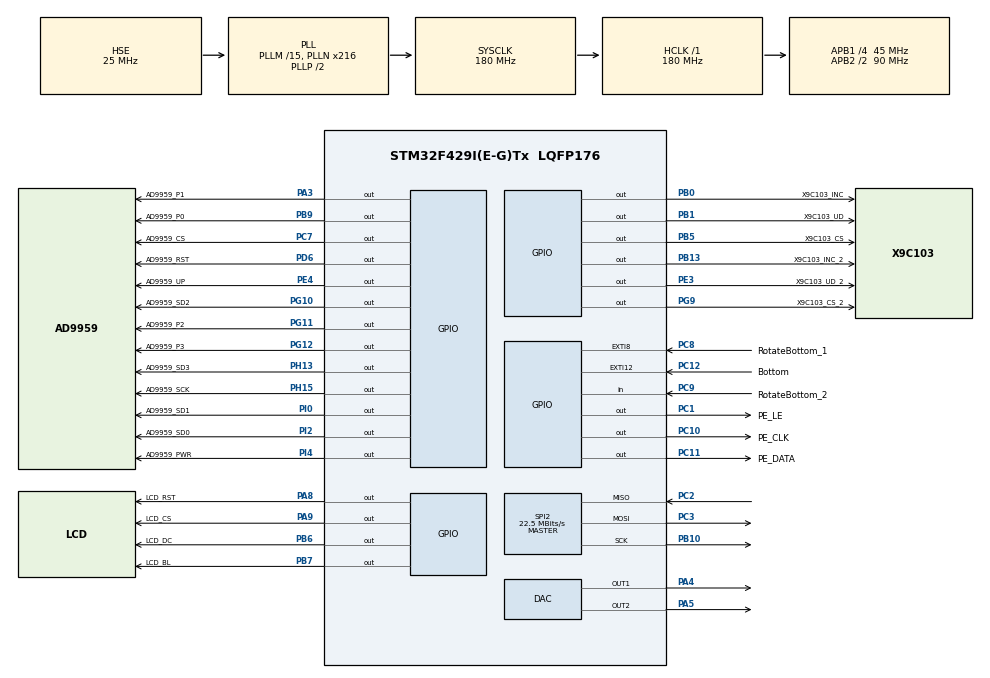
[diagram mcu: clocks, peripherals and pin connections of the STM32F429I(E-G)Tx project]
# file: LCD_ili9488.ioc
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Mcu.Family=STM32F4
Mcu.Name=STM32F429I(E-G)Tx
Mcu.Package=LQFP176
NVIC.EXTI15_10_IRQn=true\:1\:0\:true\:false\:true\:true\:true\:true
NVIC.EXTI9_5_IRQn=true\:1\:0\:true\:false\:true\:true\:true\:true
NVIC.PriorityGroup=NVIC_PRIORITYGROUP_4
PA13.Mode=Serial_Wire
PA13.Signal=SYS_JTMS-SWDIO
PA14.Mode=Serial_Wire
PA14.Signal=SYS_JTCK-SWCLK
PA3.GPIO_Label=AD9959_P1
PA3.GPIO_Speed=GPIO_SPEED_FREQ_HIGH
PA3.Signal=GPIO_Output
PA4.Signal=COMP_DAC1_group
PA5.Signal=COMP_DAC2_group
PA8.GPIO_Label=LCD_RST
PA8.Signal=GPIO_Output
PA9.GPIO_Label=LCD_CS
PA9.Signal=GPIO_Output
PB0.GPIO_Label=X9C103_INC
PB0.GPIO_Speed=GPIO_SPEED_FREQ_HIGH
PB0.PinState=GPIO_PIN_SET
PB0.Signal=GPIO_Output
PB1.GPIO_Label=X9C103_UD
PB1.GPIO_Speed=GPIO_SPEED_FREQ_HIGH
PB1.PinState=GPIO_PIN_SET
PB1.Signal=GPIO_Output
PB10.Mode=Full_Duplex_Master
PB10.Signal=SPI2_SCK
PB13.GPIO_Label=X9C103_INC_2
PB13.GPIO_Speed=GPIO_SPEED_FREQ_HIGH
PB13.PinState=GPIO_PIN_SET
PB13.Signal=GPIO_Output
PB5.GPIO_Label=X9C103_CS
PB5.GPIO_Speed=GPIO_SPEED_FREQ_HIGH
PB5.PinState=GPIO_PIN_SET
PB5.Signal=GPIO_Output
PB6.GPIO_Label=LCD_DC
PB6.Signal=GPIO_Output
PB7.GPIO_Label=LCD_BL
PB7.PinState=GPIO_PIN_SET
PB7.Signal=GPIO_Output
PB9.GPIO_Label=AD9959_P0
PB9.GPIO_Speed=GPIO_SPEED_FREQ_HIGH
PB9.Signal=GPIO_Output
PC1.GPIO_Label=PE_LE
PC1.GPIO_Speed=GPIO_SPEED_FREQ_HIGH
PC1.PinState=GPIO_PIN_SET
PC1.Signal=GPIO_Output
PC10.GPIO_Label=PE_CLK
PC10.GPIO_Speed=GPIO_SPEED_FREQ_HIGH
PC10.PinState=GPIO_PIN_SET
PC10.Signal=GPIO_Output
PC11.GPIO_Label=PE_DATA
PC11.GPIO_Speed=GPIO_SPEED_FREQ_HIGH
PC11.PinState=GPIO_PIN_SET
PC11.Signal=GPIO_Output
PC12.GPIO_Label=Bottom
PC12.GPIO_ModeDefaultEXTI=GPIO_MODE_IT_FALLING
PC12.GPIO_PuPd=GPIO_PULLUP
PC12.Signal=GPXTI12
PC2.Mode=Full_Duplex_Master
PC2.Signal=SPI2_MISO
PC3.Mode=Full_Duplex_Master
PC3.Signal=SPI2_MOSI
PC7.GPIO_Label=AD9959_CS
PC7.GPIO_Speed=GPIO_SPEED_FREQ_HIGH
PC7.Signal=GPIO_Output
PC8.GPIO_Label=RotateBottom_1
PC8.GPIO_ModeDefaultEXTI=GPIO_MODE_IT_FALLING
PC8.GPIO_PuPd=GPIO_PULLUP
PC8.Signal=GPXTI8
PC9.GPIO_Label=RotateBottom_2
PC9.Signal=GPIO_Input
PD6.GPIO_Label=AD9959_RST
PD6.GPIO_Speed=GPIO_SPEED_FREQ_HIGH
PD6.Signal=GPIO_Output
PE3.GPIO_Label=X9C103_UD_2
PE3.GPIO_Speed=GPIO_SPEED_FREQ_HIGH
PE3.PinState=GPIO_PIN_SET
PE3.Signal=GPIO_Output
PE4.GPIO_Label=AD9959_UP
PE4.GPIO_Speed=GPIO_SPEED_FREQ_HIGH
PE4.Signal=GPIO_Output
PG10.GPIO_Label=AD9959_SD2
PG10.GPIO_Speed=GPIO_SPEED_FREQ_HIGH
PG10.Signal=GPIO_Output
PG11.GPIO_Label=AD9959_P2
PG11.GPIO_Speed=GPIO_SPEED_FREQ_HIGH
PG11.Signal=GPIO_Output
PG12.GPIO_Label=AD9959_P3
PG12.GPIO_Speed=GPIO_SPEED_FREQ_HIGH
PG12.Signal=GPIO_Output
PG9.GPIO_Label=X9C103_CS_2
PG9.GPIO_Speed=GPIO_SPEED_FREQ_HIGH
PG9.PinState=GPIO_PIN_SET
PG9.Signal=GPIO_Output
PH0/OSC_IN.Mode=HSE-External-Oscillator
PH0/OSC_IN.Signal=RCC_OSC_IN
PH1/OSC_OUT.Mode=HSE-External-Oscillator
PH1/OSC_OUT.Signal=RCC_OSC_OUT
PH13.GPIO_Label=AD9959_SD3
PH13.GPIO_Speed=GPIO_SPEED_FREQ_HIGH
PH13.Signal=GPIO_Output
PH15.GPIO_Label=AD9959_SCK
PH15.GPIO_Speed=GPIO_SPEED_FREQ_HIGH
PH15.Signal=GPIO_Output
PI0.GPIO_Label=AD9959_SD1
PI0.GPIO_Speed=GPIO_SPEED_FREQ_HIGH
PI0.Signal=GPIO_Output
PI2.GPIO_Label=AD9959_SD0
PI2.GPIO_Speed=GPIO_SPEED_FREQ_HIGH
PI2.Signal=GPIO_Output
PI4.GPIO_Label=AD9959_PWR
PI4.GPIO_Speed=GPIO_SPEED_FREQ_HIGH
PI4.Signal=GPIO_Output
ProjectManager.HeapSize=0x400
ProjectManager.StackSize=0x800
ProjectManager.TargetToolchain=EWARM V8.32
RCC.48MHZClocksFreq_Value=90000000
RCC.AHBFreq_Value=180000000
RCC.APB1CLKDivider=RCC_HCLK_DIV4
RCC.APB1Freq_Value=45000000
RCC.APB1TimFreq_Value=90000000
RCC.APB2CLKDivider=RCC_HCLK_DIV2
RCC.APB2Freq_Value=90000000
RCC.APB2TimFreq_Value=180000000
RCC.CortexFreq_Value=180000000
RCC.HCLKFreq_Value=180000000
RCC.HSE_VALUE=25000000
RCC.HSI_VALUE=16000000
RCC.LSE_VALUE=32768
RCC.PLLM=15
RCC.PLLN=216
RCC.PLLSourceVirtual=RCC_PLLSOURCE_HSE
RCC.SYSCLKFreq_VALUE=180000000
RCC.SYSCLKSource=RCC_SYSCLKSOURCE_PLLCLK
RCC.VCOOutputFreq_Value=360000000
SH.COMP_DAC1_group.0=DAC_OUT1,DAC_OUT1
SH.COMP_DAC2_group.0=DAC_OUT2,DAC_OUT2
SPI2.CRCCalculation=SPI_CRCCALCULATION_DISABLE
SPI2.CalculateBaudRate=22.5 MBits/s
SPI2.Direction=SPI_DIRECTION_2LINES
SPI2.Mode=SPI_MODE_MASTER
SPI2.VirtualType=VM_MASTER
board=custom

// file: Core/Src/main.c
/* USER CODE BEGIN Header */
/**
 ******************************************************************************
 * @file           : main.c
 * @brief          : Main program body
 ******************************************************************************
 * @attention
 *
 * Copyright (c) 2024 STMicroelectronics.
 * All rights reserved.
 *
 * This software is licensed under terms that can be found in the LICENSE file
 * in the root directory of this software component.
 * If no LICENSE file comes with this software, it is provided AS-IS.
 *
 ******************************************************************************
 */
/* USER CODE END Header */
#include "main.h"
#include "dac.h"
#include "spi.h"
#include "gpio.h"

/* USER CODE BEGIN Includes */

#include "ILI9488.h"
#include "AD9959.h"
#include "AD9959_Outset.h"
#include "X9C103.h"
#include "PE4302.H"

/* USER CODE END Includes */

/* USER CODE BEGIN PV */
int ModulationDegree_index = 0; // The index of array "DCvoltage_Modulation" and array "ModulationDegreeData"
int Amplitude_index = 0;        // The index of array "DCvoltage_CW"
int Frequency_index = 0;        // The index of array "Frequency", array "DCvoltage_CW" and array "DelayTime"
int DelayTime_index = 0;        // The index of array "DelayTime"
int AMwave_index = 0;           // The index of array "DCvoltage_AM"

int CWorAM = CW_MODE;

enum BottomType bottom = NoWork;                // The work type of bottom
enum BottomMode bottom_mode = BottomCWorAMMode; // The mode of bottom
// enum BottomMode bottom_mode = BottomAmplitudeMode;
uint32_t DCvoltage_AM[10];        // The array to store the data of AM mode
uint32_t DCvoltage_CW[11][10];    // The array to store the data of CW mode in different frequency
uint32_t DCvoltage_Modulation[7]; // The array to store the data which is used to calculate modulation degree
uint32_t MultiPath_Modulation[7]; // The array to store the data which is used to calculate the modulation degree of Multipath wave
uint32_t DelayPhase[7];

// uint32_t DCvoltage[2][10];

double Frequency[11]; // The array of different frequency
int DelayTime[11][7]; // The array of the delay time in different frequency

int ModulationDegreeData[7] = {30, 40, 50, 60, 70, 80, 90};
int DelayTimeData[7] = {0, 50, 80, 110, 140, 170, 200};
int AmplitudeValidValueData[10] = {100, 200, 300, 400, 500, 600, 700, 800, 900, 1000};

// Test used
int phase = 0;
int amp = 150;

/* USER CODE END PV */

void SystemClock_Config(void);

/* USER CODE BEGIN 0 */

// Initialize data
void DCvoltageInit(void)
{
    // DCvoltage[AMPLITUDE_INDEX] is the same with DCvoltage_CW[0]
    //   DCvoltage[AMPLITUDE_INDEX][0] = 170;//130;
    //   DCvoltage[AMPLITUDE_INDEX][1] = 360;//262;
    //   DCvoltage[AMPLITUDE_INDEX][2] = 545;//400;
    //   DCvoltage[AMPLITUDE_INDEX][3] = 760;//542;
    //   DCvoltage[AMPLITUDE_INDEX][4] = 960;//699;
    //   DCvoltage[AMPLITUDE_INDEX][5] = 1160;//865
    //   DCvoltage[AMPLITUDE_INDEX][6] = 1360;//999
    //   DCvoltage[AMPLITUDE_INDEX][7] = 1550;//1183
    //   DCvoltage[AMPLITUDE_INDEX][8] = 1750;//1345
    //   DCvoltage[AMPLITUDE_INDEX][9] = 1950;//1459

    DCvoltage_AM[0] = 148;
    DCvoltage_AM[1] = 310;
    DCvoltage_AM[2] = 491;
    DCvoltage_AM[3] = 640;
    DCvoltage_AM[4] = 820;
    DCvoltage_AM[5] = 1000;
    DCvoltage_AM[6] = 1200;
    DCvoltage_AM[7] = 1365;
    DCvoltage_AM[8] = 1575;
    DCvoltage_AM[9] = 1745;

    // 30M
    DCvoltage_CW[0][0] = 170;
    DCvoltage_CW[0][1] = 350;
    DCvoltage_CW[0][2] = 535;
    DCvoltage_CW[0][3] = 734;
    DCvoltage_CW[0][4] = 930;
    DCvoltage_CW[0][5] = 1135;
    DCvoltage_CW[0][6] = 1330;
    DCvoltage_CW[0][7] = 1530;
    DCvoltage_CW[0][8] = 1730;
    DCvoltage_CW[0][9] = 1925;

    // 31M
    DCvoltage_CW[1][0] = 152;
    DCvoltage_CW[1][1] = 315;
    DCvoltage_CW[1][2] = 489;
    DCvoltage_CW[1][3] = 680;
    DCvoltage_CW[1][4] = 877;
    DCvoltage_CW[1][5] = 1051;
    DCvoltage_CW[1][6] = 1242;
    DCvoltage_CW[1][7] = 1420;
    DCvoltage_CW[1][8] = 1620;
    DCvoltage_CW[1][9] = 1810;

    // 32M
    DCvoltage_CW[2][0] = 137;
    DCvoltage_CW[2][1] = 287;
    DCvoltage_CW[2][2] = 451;
    DCvoltage_CW[2][3] = 625;
    DCvoltage_CW[2][4] = 801;
    DCvoltage_CW[2][5] = 970;
    DCvoltage_CW[2][6] = 1145;
    DCvoltage_CW[2][7] = 1300;
    DCvoltage_CW[2][8] = 1489;
    DCvoltage_CW[2][9] = 1660;

    // 33M
    DCvoltage_CW[3][0] = 126;
    DCvoltage_CW[3][1] = 271;
    DCvoltage_CW[3][2] = 419;
    DCvoltage_CW[3][3] = 590;
    DCvoltage_CW[3][4] = 745;
    DCvoltage_CW[3][5] = 910;
    DCvoltage_CW[3][6] = 1070;
    DCvoltage_CW[3][7] = 1235;
    DCvoltage_CW[3][8] = 1385;
    DCvoltage_CW[3][9] = 1550;

    // 34M
    DCvoltage_CW[4][0] = 126;
    DCvoltage_CW[4][1] = 265;//271;
    DCvoltage_CW[4][2] = 395;//421;
    DCvoltage_CW[4][3] = 560;
    DCvoltage_CW[4][4] = 715;
    DCvoltage_CW[4][5] = 870;
    DCvoltage_CW[4][6] = 1020;
    DCvoltage_CW[4][7] = 1160;
    DCvoltage_CW[4][8] = 1338;
    DCvoltage_CW[4][9] = 1500;

    // 35M
    DCvoltage_CW[5][0] = 126;
    DCvoltage_CW[5][1] = 260;
    DCvoltage_CW[5][2] = 390;//421;
    DCvoltage_CW[5][3] = 530;
    DCvoltage_CW[5][4] = 705;
    DCvoltage_CW[5][5] = 860;
    DCvoltage_CW[5][6] = 1010;
    DCvoltage_CW[5][7] = 1160;
    DCvoltage_CW[5][8] = 1315;
    DCvoltage_CW[5][9] = 1455;

    // 36M
    DCvoltage_CW[6][0] = 120;
    DCvoltage_CW[6][1] = 260;//283;
    DCvoltage_CW[6][2] = 400;//446;
    DCvoltage_CW[6][3] = 550;
    DCvoltage_CW[6][4] = 717;
    DCvoltage_CW[6][5] = 870;
    DCvoltage_CW[6][6] = 1015;
    DCvoltage_CW[6][7] = 1170;
    DCvoltage_CW[6][8] = 1320;
    DCvoltage_CW[6][9] = 1470;

    // 37M
    DCvoltage_CW[7][0] = 125;
    DCvoltage_CW[7][1] = 280;//311;
    DCvoltage_CW[7][2] = 423;//488;
    DCvoltage_CW[7][3] = 580;
    DCvoltage_CW[7][4] = 750;
    DCvoltage_CW[7][5] = 920;
    DCvoltage_CW[7][6] = 1080;
    DCvoltage_CW[7][7] = 1230;
    DCvoltage_CW[7][8] = 1390;
    DCvoltage_CW[7][9] = 1555;

    // 38M
    DCvoltage_CW[8][0] = 142;//167;
    DCvoltage_CW[8][1] = 300;//348;
    DCvoltage_CW[8][2] = 460;//552;
    DCvoltage_CW[8][3] = 635;
    DCvoltage_CW[8][4] = 820;
    DCvoltage_CW[8][5] = 985;
    DCvoltage_CW[8][6] = 1150;
    DCvoltage_CW[8][7] = 1320;
    DCvoltage_CW[8][8] = 1480;
    DCvoltage_CW[8][9] = 1630;

    // 39M
    DCvoltage_CW[9][0] = 142;//188;
    DCvoltage_CW[9][1] = 325;//386;
    DCvoltage_CW[9][2] = 495;//614;
    DCvoltage_CW[9][3] = 680;
    DCvoltage_CW[9][4] = 870;
    DCvoltage_CW[9][5] = 1070;
    DCvoltage_CW[9][6] = 1240;
    DCvoltage_CW[9][7] = 1425;
    DCvoltage_CW[9][8] = 1600;
    DCvoltage_CW[9][9] = 1750;

    // 40M
    DCvoltage_CW[10][0] = 155;//214;
    DCvoltage_CW[10][1] = 355;//436;
    DCvoltage_CW[10][2] = 540;//675;
    DCvoltage_CW[10][3] = 750;
    DCvoltage_CW[10][4] = 960;
    DCvoltage_CW[10][5] = 1160;
    DCvoltage_CW[10][6] = 1340;
    DCvoltage_CW[10][7] = 1525;
    DCvoltage_CW[10][8] = 1730;
    DCvoltage_CW[10][9] = 1930;

    DelayPhase[0] = 0;
    DelayPhase[1] = 40;
    DelayPhase[2] = 60;
    DelayPhase[3] = 80;
    DelayPhase[4] = 100;
    DelayPhase[5] = 120;
    DelayPhase[6] = 140;

    //   DCvoltage[MODULATION_DEGREE_INDEX][0] = 700;
    //   DCvoltage[MODULATION_DEGREE_INDEX][1] = 570;
    //   DCvoltage[MODULATION_DEGREE_INDEX][2] = 440;
    //   DCvoltage[MODULATION_DEGREE_INDEX][3] = 353;
    //   DCvoltage[MODULATION_DEGREE_INDEX][4] = 310;
    //   DCvoltage[MODULATION_DEGREE_INDEX][5] = 285;
    //   DCvoltage[MODULATION_DEGREE_INDEX][6] = 240;
    //   DCvoltage[MODULATION_DEGREE_INDEX][7] = 240;
    //   DCvoltage[MODULATION_DEGREE_INDEX][8] = 240;
    //   DCvoltage[MODULATION_DEGREE_INDEX][9] = 240;

    DCvoltage_Modulation[0] = 670;
    DCvoltage_Modulation[1] = 488 + 20 + 20;
    DCvoltage_Modulation[2] = 413 + 20 + 20;
    DCvoltage_Modulation[3] = 353 + 20 + 20;
    DCvoltage_Modulation[4] = 312 + 20 + 20;
    DCvoltage_Modulation[5] = 275 + 20 + 20;
    DCvoltage_Modulation[6] = 245 + 20 + 20;

    MultiPath_Modulation[0] = 44;
    MultiPath_Modulation[1] = 41;
    MultiPath_Modulation[2] = 40;
    MultiPath_Modulation[3] = 38;
    MultiPath_Modulation[4] = 36;
    MultiPath_Modulation[5] = 34;
    MultiPath_Modulation[6] = 32;

    Frequency[0] = 30000000;
    Frequency[1] = 31000000;
    Frequency[2] = 32000000;
    Frequency[3] = 33000000;
    Frequency[4] = 34000000;
    Frequency[5] = 35000000;
    Frequency[6] = 36000000;
    Frequency[7] = 37000000;
    Frequency[8] = 38000000;
    Frequency[9] = 39000000;
    Frequency[10] = 40000000;

    // 30M
    DelayTime[0][0] = 0;
    DelayTime[0][1] = 530;
    DelayTime[0][2] = 855;
    DelayTime[0][3] = 1180;
    DelayTime[0][4] = 1505;
    DelayTime[0][5] = 1830;
    DelayTime[0][6] = 2155;

    // 31M
    DelayTime[1][0] = 0;
    DelayTime[1][1] = 550;
    DelayTime[1][2] = 890;
    DelayTime[1][3] = 1220;
    DelayTime[1][4] = 1555;
    DelayTime[1][5] = 1890;
    DelayTime[1][6] = 2225;

    // 32M
    DelayTime[2][0] = 0;
    DelayTime[2][1] = 565;
    DelayTime[2][2] = 905;
    DelayTime[2][3] = 1250;
    DelayTime[2][4] = 1605;
    DelayTime[2][5] = 1955;
    DelayTime[2][6] = 2305;

    // 33M
    DelayTime[3][0] = 0;
    DelayTime[3][1] = 595;
    DelayTime[3][2] = 945;
    DelayTime[3][3] = 1295;
    DelayTime[3][4] = 1645;
    DelayTime[3][5] = 1995;
    DelayTime[3][6] = 2345;

    // 34M
    DelayTime[4][0] = 0;
    DelayTime[4][1] = 605;
    DelayTime[4][2] = 970;
    DelayTime[4][3] = 1335;
    DelayTime[4][4] = 1715;
    DelayTime[4][5] = 2085;
    DelayTime[4][6] = 2455;

    // 35M
    DelayTime[5][0] = 0;
    DelayTime[5][1] = 630;
    DelayTime[5][2] = 1000;
    DelayTime[5][3] = 1375;
    DelayTime[5][4] = 1747;
    DelayTime[5][5] = 2119;
    DelayTime[5][6] = 2491;

    // 36M
    DelayTime[6][0] = 0;
    DelayTime[6][1] = 640;
    DelayTime[6][2] = 1030;
    DelayTime[6][3] = 1415;
    DelayTime[6][4] = 1802;
    DelayTime[6][5] = 2189;
    DelayTime[6][6] = 2576;

    // 37M
    DelayTime[7][0] = 0;
    DelayTime[7][1] = 660;
    DelayTime[7][2] = 1065;
    DelayTime[7][3] = 1460;
    DelayTime[7][4] = 1860;
    DelayTime[7][5] = 2260;
    DelayTime[7][6] = 2660;

    // 38M
    DelayTime[8][0] = 0;
    DelayTime[8][1] = 680;
    DelayTime[8][2] = 1090;
    DelayTime[8][3] = 1505;
    DelayTime[8][4] = 1917;
    DelayTime[8][5] = 2329;
    DelayTime[8][6] = 2741;

    // 39M
    DelayTime[9][0] = 0;
    DelayTime[9][1] = 700;
    DelayTime[9][2] = 1120;
    DelayTime[9][3] = 1540;
    DelayTime[9][4] = 1960;
    DelayTime[9][5] = 2380;
    DelayTime[9][6] = 2800;

    // 40M
    DelayTime[10][0] = 0;
    DelayTime[10][1] = 720;
    DelayTime[10][2] = 1140;
    DelayTime[10][3] = 1560;
    DelayTime[10][4] = 1980;
    DelayTime[10][5] = 2400;
    DelayTime[10][6] = 2820;
}

/* USER CODE END 0 */

int main(void)
{

  /* MCU Configuration--------------------------------------------------------*/

  /* Reset of all peripherals, Initializes the Flash interface and the Systick. */
  HAL_Init();

  /* Configure the system clock */
  SystemClock_Config();

  /* USER CODE BEGIN SysInit */

    delay_init(180);

  /* USER CODE END SysInit */

  /* Initialize all configured peripherals */
  MX_GPIO_Init();
  MX_SPI2_Init();
  MX_DAC_Init();
  /* USER CODE BEGIN 2 */
    DCvoltageInit();

    // Initialize DAC
    HAL_DAC_Start(&hdac, DAC_CHANNEL_1);
    //   HAL_DAC_SetValue(&hdac, DAC_CHANNEL_1, DAC_ALIGN_12B_R, DCvoltage[MODULATION_DEGREE_INDEX][0]);
    HAL_DAC_SetValue(&hdac, DAC_CHANNEL_1, DAC_ALIGN_12B_R, DCvoltage_Modulation[ModulationDegree_index]);
    // HAL_DAC_SetValue(&hdac, DAC_CHANNEL_1, DAC_ALIGN_12B_R, 245);
    HAL_DAC_Start(&hdac, DAC_CHANNEL_2);
    HAL_DAC_SetValue(&hdac, DAC_CHANNEL_2, DAC_ALIGN_12B_R, DCvoltage_CW[Frequency_index][Amplitude_index]);
    //   HAL_DAC_SetValue(&hdac, DAC_CHANNEL_2, DAC_ALIGN_12B_R, DCvoltage[AMPLITUDE_INDEX][0]);

    //   HAL_DAC_SetValue(&hdac, DAC_CHANNEL_2, DAC_ALIGN_12B_R, amp);

    // Initialize AD9959
    AD9959_Init();
    AD9959_enablechannel0();
    AD9959_SetFreAmpPha(30000000, 400, 0);
    AD9959_enablechannel1();
    AD9959_SetFreAmpPha(2000000, 400, 0);
    AD9959_enablechannel2();
    AD9959_SetFreAmpPha(2000000, 400, DelayTime[0][0]);
    AD9959_enablechannel3();
    AD9959_SetFreAmpPha(30000000, 400, DelayTime[0][0]);

    // Initialize LCD
    lcd_init_spi();
    fill_rectangle(0, 0, WIDTH, HEIGHT, COLOR_DARKBLUE);
    ShowInformation(CHINESE_WIDTH, CHINESE_HEIGHT, COLOR_WHITE, COLOR_DARKBLUE);

    // Initialize X9C103
    X9C103_Init();
    X9C103_Inc_N_Step(MultiPath_Modulation[ModulationDegree_index]);
//    X9C103_Init_2();
//    X9C103_Inc_N_Step_2(10);

  /* USER CODE END 2 */

  /* Infinite loop */
  /* USER CODE BEGIN WHILE */
    while (1)
    {
        //     if (bottom != NoWork) {
        //         if (bottom == ClockwiseRotate) {
        //             // if (bottom_mode == BottomFrequencyMode) {
        //             //     Frequency_index++;
        //             //     if (Frequency_index > 10) {
        //             //         Frequency_index = 10;
        //             //     }
        //             // }
        //             // else if (bottom_mode == BottomAmplitudeMode) {
        //             //     amp++;
        //             //     if (amp > 4095) {
        //             //         amp = 4095;
        //             //     }
        //             //     HAL_DAC_SetValue(&hdac, DAC_CHANNEL_2, DAC_ALIGN_12B_R, amp);
        //             // }
        //             phase += 30;

        //         }
        // 		else if (bottom == AnticlockwiseRotate) {
        //             // if (bottom_mode == BottomFrequencyMode) {
        //             //     Frequency_index--;
        //             //     if (Frequency_index < 0) {
        //             //         Frequency_index = 0;
        //             //     }
        //             // }
        //             // else if (bottom_mode == BottomAmplitudeMode) {
        //             //     amp--;
        //             //     if (amp < 0) {
        //             //         amp = 0;
        //             //     }
        //             //     HAL_DAC_SetValue(&hdac, DAC_CHANNEL_2, DAC_ALIGN_12B_R, amp);
        //             // }
        //             phase -= 30;
        //         }
        //         else if (bottom == PushDown) {
        //             // if (bottom_mode == BottomFrequencyMode) {
        //             //     bottom_mode = BottomAmplitudeMode;
        //             // }
        //             // else if (bottom_mode == BottomAmplitudeMode) {
        //             //     bottom_mode = BottomFrequencyMode;
        //             // }
        //         }
        // 		bottom = NoWork;

        // //		AD9959_enablechannel3();
        // //        AD9959_SetFreAmpPha(Frequency[Frequency_index], 400, phase);
        //         AD9959_enablechannel2();
        //         AD9959_SetFreAmpPha(2000000, 400, phase);
        //     }

        if (bottom != NoWork)
        {
            if (bottom == ClockwiseRotate)
            {
                if (bottom_mode == BottomAmplitudeMode)
                {
                    if (CWorAM == CW_MODE)
                    {
                        Amplitude_index++;
                        if (Amplitude_index > 9)
                        {
                            Amplitude_index = 9;
                            LCD_ShowNumber(2 + CHINESE_WIDTH * 6 + 2,
                                           2 + CHINESE_HEIGHT / 2 - CHAR_HEIGHT / 2 + 2 + CHAR_HEIGHT * 5 + 20,
                                           AmplitudeValidValueData[Amplitude_index], CHAR_WIDTH, CHAR_HEIGHT, COLOR_DARKBLUE, COLOR_DARKBLUE);
                        }
                        else
                        {
                            LCD_ShowNumber(2 + CHINESE_WIDTH * 6 + 2,
                                           2 + CHINESE_HEIGHT / 2 - CHAR_HEIGHT / 2 + 2 + CHAR_HEIGHT * 5 + 20,
                                           AmplitudeValidValueData[Amplitude_index - 1], CHAR_WIDTH, CHAR_HEIGHT, COLOR_DARKBLUE, COLOR_DARKBLUE);
                        }
                        LCD_ShowNumber(2 + CHINESE_WIDTH * 6 + 2,
                                       2 + CHINESE_HEIGHT / 2 - CHAR_HEIGHT / 2 + 2 + CHAR_HEIGHT * 5 + 20,
                                       AmplitudeValidValueData[Amplitude_index], CHAR_WIDTH, CHAR_HEIGHT, COLOR_WHITE, COLOR_DARKBLUE);
                    }
                    else if (CWorAM == AM_MODE)
                    {
                        AMwave_index++;
                        if (AMwave_index > 9)
                        {
                            AMwave_index = 9;
                            LCD_ShowNumber(2 + CHINESE_WIDTH * 6 + 2,
                                           2 + CHINESE_HEIGHT / 2 - CHAR_HEIGHT / 2 + 2 + CHAR_HEIGHT * 5 + 20,
                                           AmplitudeValidValueData[AMwave_index], CHAR_WIDTH, CHAR_HEIGHT, COLOR_DARKBLUE, COLOR_DARKBLUE);
                        }
                        else
                        {
                            LCD_ShowNumber(2 + CHINESE_WIDTH * 6 + 2,
                                           2 + CHINESE_HEIGHT / 2 - CHAR_HEIGHT / 2 + 2 + CHAR_HEIGHT * 5 + 20,
                                           AmplitudeValidValueData[AMwave_index - 1], CHAR_WIDTH, CHAR_HEIGHT, COLOR_DARKBLUE, COLOR_DARKBLUE);
                        }
                        LCD_ShowNumber(2 + CHINESE_WIDTH * 6 + 2,
                                       2 + CHINESE_HEIGHT / 2 - CHAR_HEIGHT / 2 + 2 + CHAR_HEIGHT * 5 + 20,
                                       AmplitudeValidValueData[AMwave_index], CHAR_WIDTH, CHAR_HEIGHT, COLOR_WHITE, COLOR_DARKBLUE);
                    }
                }
                else if (bottom_mode == BottomModulationDegreeMode)
                {
                    ModulationDegree_index++;
                    if (ModulationDegree_index > 6)
                    {
                        ModulationDegree_index = 6;
                    }
                    HAL_DAC_SetValue(&hdac, DAC_CHANNEL_1, DAC_ALIGN_12B_R, (uint32_t)(DCvoltage_Modulation[ModulationDegree_index]));
                    X9C103_Init();
                    X9C103_Inc_N_Step(MultiPath_Modulation[ModulationDegree_index]);
                    LCD_ShowNumber(2 + CHINESE_WIDTH * 6 + 2,
                                   2 + CHINESE_HEIGHT / 2 - CHAR_HEIGHT / 2 + 2 + CHAR_HEIGHT * 3 + 16,
                                   ModulationDegreeData[ModulationDegree_index], CHAR_WIDTH, CHAR_HEIGHT, COLOR_WHITE, COLOR_DARKBLUE);
                }
                else if (bottom_mode == BottomFrequencyMode)
                {
                    Frequency_index++;
                    if (Frequency_index > 10)
                    {
                        Frequency_index = 10;
                    }
                    LCD_ShowNumber(2 + CHINESE_WIDTH * 5 + 2,
                                   2 + CHINESE_HEIGHT / 2 - CHAR_HEIGHT / 2 + 2 + CHAR_HEIGHT + 6,
                                   Frequency[Frequency_index], CHAR_WIDTH, CHAR_HEIGHT, COLOR_WHITE, COLOR_DARKBLUE);
                }
                else if (bottom_mode == BottomDelayMode)
                {
                    DelayTime_index++;
                    if (DelayTime_index > 6)
                    {
                        DelayTime_index = 6;
                        LCD_ShowNumber(2 + CHINESE_WIDTH * 7 + 2,
                                       2 + CHINESE_HEIGHT / 2 - CHAR_HEIGHT / 2 + 2 + CHAR_HEIGHT * 2 + 8,
                                       DelayTimeData[DelayTime_index], CHAR_WIDTH, CHAR_HEIGHT, COLOR_DARKBLUE, COLOR_DARKBLUE);
                    }
                    else
                    {
                        LCD_ShowNumber(2 + CHINESE_WIDTH * 7 + 2,
                                       2 + CHINESE_HEIGHT / 2 - CHAR_HEIGHT / 2 + 2 + CHAR_HEIGHT * 2 + 8,
                                       DelayTimeData[DelayTime_index - 1], CHAR_WIDTH, CHAR_HEIGHT, COLOR_DARKBLUE, COLOR_DARKBLUE);
                    }
                    LCD_ShowNumber(2 + CHINESE_WIDTH * 7 + 2,
                                   2 + CHINESE_HEIGHT / 2 - CHAR_HEIGHT / 2 + 2 + CHAR_HEIGHT * 2 + 8,
                                   DelayTimeData[DelayTime_index], CHAR_WIDTH, CHAR_HEIGHT, COLOR_WHITE, COLOR_DARKBLUE);
                    //phase += 10;
                }
                else if (bottom_mode == BottomCWorAMMode)
                {
                    CWorAM = AM_MODE;
                    HAL_DAC_SetValue(&hdac, DAC_CHANNEL_2, DAC_ALIGN_12B_R, DCvoltage_AM[AMwave_index]);
                    // LCD_DrawString(2, HEIGHT - CHAR_HEIGHT - 2, "CW", 2, CHAR_WIDTH, CHAR_HEIGHT, COLOR_DARKBLUE, COLOR_DARKBLUE);
                    // LCD_DrawString(2, HEIGHT - CHAR_HEIGHT - 2, "AM", 2, CHAR_WIDTH, CHAR_HEIGHT, COLOR_WHITE, COLOR_DARKBLUE);
                }
            }
            else if (bottom == AnticlockwiseRotate)
            {
                if (bottom_mode == BottomAmplitudeMode)
                {
                    if (CWorAM == CW_MODE)
                    {
                        Amplitude_index--;
                        if (Amplitude_index < 0)
                        {
                            Amplitude_index = 0;
                            LCD_ShowNumber(2 + CHINESE_WIDTH * 6 + 2,
                                           2 + CHINESE_HEIGHT / 2 - CHAR_HEIGHT / 2 + 2 + CHAR_HEIGHT * 5 + 20,
                                           AmplitudeValidValueData[Amplitude_index], CHAR_WIDTH, CHAR_HEIGHT, COLOR_DARKBLUE, COLOR_DARKBLUE);
                        }
                        else
                        {
                            LCD_ShowNumber(2 + CHINESE_WIDTH * 6 + 2,
                                           2 + CHINESE_HEIGHT / 2 - CHAR_HEIGHT / 2 + 2 + CHAR_HEIGHT * 5 + 20,
                                           AmplitudeValidValueData[Amplitude_index + 1], CHAR_WIDTH, CHAR_HEIGHT, COLOR_DARKBLUE, COLOR_DARKBLUE);
                        }
                        LCD_ShowNumber(2 + CHINESE_WIDTH * 6 + 2,
                                       2 + CHINESE_HEIGHT / 2 - CHAR_HEIGHT / 2 + 2 + CHAR_HEIGHT * 5 + 20,
                                       AmplitudeValidValueData[Amplitude_index], CHAR_WIDTH, CHAR_HEIGHT, COLOR_WHITE, COLOR_DARKBLUE);
                    }
                    else if (CWorAM == AM_MODE)
                    {
                        AMwave_index--;
                        if (AMwave_index < 0)
                        {
                            AMwave_index = 0;
                            LCD_ShowNumber(2 + CHINESE_WIDTH * 6 + 2,
                                           2 + CHINESE_HEIGHT / 2 - CHAR_HEIGHT / 2 + 2 + CHAR_HEIGHT * 5 + 20,
                                           AmplitudeValidValueData[AMwave_index], CHAR_WIDTH, CHAR_HEIGHT, COLOR_DARKBLUE, COLOR_DARKBLUE);
                        }
                        else
                        {
                            LCD_ShowNumber(2 + CHINESE_WIDTH * 6 + 2,
                                           2 + CHINESE_HEIGHT / 2 - CHAR_HEIGHT / 2 + 2 + CHAR_HEIGHT * 5 + 20,
                                           AmplitudeValidValueData[AMwave_index + 1], CHAR_WIDTH, CHAR_HEIGHT, COLOR_DARKBLUE, COLOR_DARKBLUE);
                        }
                        LCD_ShowNumber(2 + CHINESE_WIDTH * 6 + 2,
                                       2 + CHINESE_HEIGHT / 2 - CHAR_HEIGHT / 2 + 2 + CHAR_HEIGHT * 5 + 20,
                                       AmplitudeValidValueData[AMwave_index], CHAR_WIDTH, CHAR_HEIGHT, COLOR_WHITE, COLOR_DARKBLUE);
                    }
                }
                else if (bottom_mode == BottomModulationDegreeMode)
                {
                    ModulationDegree_index--;
                    if (ModulationDegree_index < 0)
                    {
                        ModulationDegree_index = 0;
                    }
                    HAL_DAC_SetValue(&hdac, DAC_CHANNEL_1, DAC_ALIGN_12B_R, (uint32_t)(DCvoltage_Modulation[ModulationDegree_index]));
                    X9C103_Init();
                    X9C103_Inc_N_Step(MultiPath_Modulation[ModulationDegree_index]);
                    LCD_ShowNumber(2 + CHINESE_WIDTH * 6 + 2,
                                   2 + CHINESE_HEIGHT / 2 - CHAR_HEIGHT / 2 + 2 + CHAR_HEIGHT * 3 + 16,
                                   ModulationDegreeData[ModulationDegree_index], CHAR_WIDTH, CHAR_HEIGHT, COLOR_WHITE, COLOR_DARKBLUE);
                }
                else if (bottom_mode == BottomFrequencyMode)
                {
                    Frequency_index--;
                    if (Frequency_index < 0)
                    {
                        Frequency_index = 0;
                    }
                    LCD_ShowNumber(2 + CHINESE_WIDTH * 5 + 2,
                                   2 + CHINESE_HEIGHT / 2 - CHAR_HEIGHT / 2 + 2 + CHAR_HEIGHT + 6,
                                   Frequency[Frequency_index], CHAR_WIDTH, CHAR_HEIGHT, COLOR_WHITE, COLOR_DARKBLUE);
                }
                else if (bottom_mode == BottomDelayMode)
                {
                    DelayTime_index--;
                    if (DelayTime_index < 0)
                    {
                        DelayTime_index = 0;
                        LCD_ShowNumber(2 + CHINESE_WIDTH * 7 + 2,
                                       2 + CHINESE_HEIGHT / 2 - CHAR_HEIGHT / 2 + 2 + CHAR_HEIGHT * 2 + 8,
                                       DelayTimeData[DelayTime_index], CHAR_WIDTH, CHAR_HEIGHT, COLOR_DARKBLUE, COLOR_DARKBLUE);
                    }
                    else
                    {
                        LCD_ShowNumber(2 + CHINESE_WIDTH * 7 + 2,
                                       2 + CHINESE_HEIGHT / 2 - CHAR_HEIGHT / 2 + 2 + CHAR_HEIGHT * 2 + 8,
                                       DelayTimeData[DelayTime_index + 1], CHAR_WIDTH, CHAR_HEIGHT, COLOR_DARKBLUE, COLOR_DARKBLUE);
                    }
                    LCD_ShowNumber(2 + CHINESE_WIDTH * 7 + 2,
                                   2 + CHINESE_HEIGHT / 2 - CHAR_HEIGHT / 2 + 2 + CHAR_HEIGHT * 2 + 8,
                                   DelayTimeData[DelayTime_index], CHAR_WIDTH, CHAR_HEIGHT, COLOR_WHITE, COLOR_DARKBLUE);
                      //phase -= 10;
                }
                else if (bottom_mode == BottomCWorAMMode)
                {
                    CWorAM = CW_MODE;
                    // HAL_DAC_SetValue(&hdac, DAC_CHANNEL_2, DAC_ALIGN_12B_R, DCvoltage[AMPLITUDE_INDEX][Amplitude_index]);
                    HAL_DAC_SetValue(&hdac, DAC_CHANNEL_2, DAC_ALIGN_12B_R, DCvoltage_CW[Frequency_index][Amplitude_index]);
                    // LCD_DrawString(2, HEIGHT - CHAR_HEIGHT - 2, "AM", 2, CHAR_WIDTH, CHAR_HEIGHT, COLOR_DARKBLUE, COLOR_DARKBLUE);
                    // LCD_DrawString(2, HEIGHT - CHAR_HEIGHT - 2, "CW", 2, CHAR_WIDTH, CHAR_HEIGHT, COLOR_WHITE, COLOR_DARKBLUE);
                }
            }
            else if (bottom == PushDown)
            {
                if (bottom_mode == BottomAmplitudeMode)
                {
                    bottom_mode = BottomModulationDegreeMode;
                    LCD_DrawChinese(2 + CHINESE_WIDTH * 4 + 2, 2 + CHINESE_HEIGHT * 6 + 2, Amplitude, 2, CHINESE_WIDTH, CHINESE_HEIGHT, COLOR_DARKBLUE, COLOR_DARKBLUE);
                    LCD_DrawChinese(2 + CHINESE_WIDTH * 4 + 2, 2 + CHINESE_HEIGHT * 6 + 2, ModulationDegree, 3, CHINESE_WIDTH, CHINESE_HEIGHT, COLOR_WHITE, COLOR_DARKBLUE);
                }
                else if (bottom_mode == BottomModulationDegreeMode)
                {
                    bottom_mode = BottomFrequencyMode;
                    LCD_DrawChinese(2 + CHINESE_WIDTH * 4 + 2, 2 + CHINESE_HEIGHT * 6 + 2, ModulationDegree, 3, CHINESE_WIDTH, CHINESE_HEIGHT, COLOR_DARKBLUE, COLOR_DARKBLUE);
                    LCD_DrawChinese(2 + CHINESE_WIDTH * 4 + 2, 2 + CHINESE_HEIGHT * 6 + 2, FrequencyData, 2, CHINESE_WIDTH, CHINESE_HEIGHT, COLOR_WHITE, COLOR_DARKBLUE);
                }
                else if (bottom_mode == BottomFrequencyMode)
                {
                    bottom_mode = BottomDelayMode;
                    LCD_DrawChinese(2 + CHINESE_WIDTH * 4 + 2, 2 + CHINESE_HEIGHT * 6 + 2, FrequencyData, 2, CHINESE_WIDTH, CHINESE_HEIGHT, COLOR_DARKBLUE, COLOR_DARKBLUE);
                    LCD_DrawChinese(2 + CHINESE_WIDTH * 4 + 2, 2 + CHINESE_HEIGHT * 6 + 2, Delay, 2, CHINESE_WIDTH, CHINESE_HEIGHT, COLOR_WHITE, COLOR_DARKBLUE);
                }
                else if (bottom_mode == BottomDelayMode)
                {
                    bottom_mode = BottomCWorAMMode;
                    LCD_DrawChinese(2 + CHINESE_WIDTH * 4 + 2, 2 + CHINESE_HEIGHT * 6 + 2, Delay, 2, CHINESE_WIDTH, CHINESE_HEIGHT, COLOR_DARKBLUE, COLOR_DARKBLUE);
                    // LCD_DrawString(2 + CHINESE_WIDTH * 4 + 2, 2 + CHINESE_HEIGHT * 6 + 6, "CW or AM", 8, CHAR_WIDTH, CHAR_HEIGHT, COLOR_WHITE, COLOR_DARKBLUE);
                }
                else if (bottom_mode == BottomCWorAMMode)
                {
                    bottom_mode = BottomAmplitudeMode;
                    LCD_DrawString(2 + CHINESE_WIDTH * 4 + 2, 2 + CHINESE_HEIGHT * 6 + 6, "CW or AM", 8, CHAR_WIDTH, CHAR_HEIGHT, COLOR_DARKBLUE, COLOR_DARKBLUE);
                    LCD_DrawChinese(2 + CHINESE_WIDTH * 4 + 2, 2 + CHINESE_HEIGHT * 6 + 2, Amplitude, 2, CHINESE_WIDTH, CHINESE_HEIGHT, COLOR_WHITE, COLOR_DARKBLUE);
                }
            }

            bottom = NoWork;

            //   LCD_ShowNumber(2 + CHINESE_WIDTH * 5 + 2,
            //                  2 + CHINESE_HEIGHT / 2 - CHAR_HEIGHT / 2 + 2 + CHAR_HEIGHT + 6,
            //                  Frequency[Frequency_index], CHAR_WIDTH, CHAR_HEIGHT, COLOR_WHITE, COLOR_DARKBLUE);

            //   LCD_ShowNumber(2 + CHINESE_WIDTH * 6 + 2,
            //                  2 + CHINESE_HEIGHT / 2 - CHAR_HEIGHT / 2 + 2 + CHAR_HEIGHT * 6 + 26,
            //                  ModulationDegreeData[ModulationDegree_index], CHAR_WIDTH, CHAR_HEIGHT, COLOR_WHITE, COLOR_DARKBLUE);
        }
        AD9959_enablechannel0();
        AD9959_SetFreAmpPha(Frequency[Frequency_index], 400, 0);
        AD9959_enablechannel3();
        AD9959_SetFreAmpPha(Frequency[Frequency_index], 400, 0);
        AD9959_enablechannel2();
        //AD9959_SetFreAmpPha(2000000, 400, phase);
        AD9959_SetFreAmpPha(2000000, 400, DelayPhase[DelayTime_index]);
        if (CWorAM == CW_MODE)
        {
            HAL_DAC_SetValue(&hdac, DAC_CHANNEL_2, DAC_ALIGN_12B_R, (uint32_t)(DCvoltage_CW[Frequency_index][Amplitude_index]));
        }
        else if (CWorAM == AM_MODE)
        {
            HAL_DAC_SetValue(&hdac, DAC_CHANNEL_2, DAC_ALIGN_12B_R, (uint32_t)(DCvoltage_AM[AMwave_index]));
        }

    /* USER CODE END WHILE */

    }
}

void SystemClock_Config(void)
{
  RCC_OscInitTypeDef RCC_OscInitStruct = {0};
  RCC_ClkInitTypeDef RCC_ClkInitStruct = {0};

  /** Configure the main internal regulator output voltage
  */
  __HAL_RCC_PWR_CLK_ENABLE();
  __HAL_PWR_VOLTAGESCALING_CONFIG(PWR_REGULATOR_VOLTAGE_SCALE1);

  /** Initializes the RCC Oscillators according to the specified parameters
  * in the RCC_OscInitTypeDef structure.
  */
  RCC_OscInitStruct.OscillatorType = RCC_OSCILLATORTYPE_HSE;
  RCC_OscInitStruct.HSEState = RCC_HSE_ON;
  RCC_OscInitStruct.PLL.PLLState = RCC_PLL_ON;
  RCC_OscInitStruct.PLL.PLLSource = RCC_PLLSOURCE_HSE;
  RCC_OscInitStruct.PLL.PLLM = 15;
  RCC_OscInitStruct.PLL.PLLN = 216;
  RCC_OscInitStruct.PLL.PLLP = RCC_PLLP_DIV2;
  RCC_OscInitStruct.PLL.PLLQ = 4;
  if (HAL_RCC_OscConfig(&RCC_OscInitStruct) != HAL_OK)
  {
    Error_Handler();
  }

  /** Activate the Over-Drive mode
  */
  if (HAL_PWREx_EnableOverDrive() != HAL_OK)
  {
    Error_Handler();
  }

  /** Initializes the CPU, AHB and APB buses clocks
  */
  RCC_ClkInitStruct.ClockType = RCC_CLOCKTYPE_HCLK|RCC_CLOCKTYPE_SYSCLK
                              |RCC_CLOCKTYPE_PCLK1|RCC_CLOCKTYPE_PCLK2;
  RCC_ClkInitStruct.SYSCLKSource = RCC_SYSCLKSOURCE_PLLCLK;
  RCC_ClkInitStruct.AHBCLKDivider = RCC_SYSCLK_DIV1;
  RCC_ClkInitStruct.APB1CLKDivider = RCC_HCLK_DIV4;
  RCC_ClkInitStruct.APB2CLKDivider = RCC_HCLK_DIV2;

  if (HAL_RCC_ClockConfig(&RCC_ClkInitStruct, FLASH_LATENCY_5) != HAL_OK)
  {
    Error_Handler();
  }
}

void Error_Handler(void)
{
    __disable_irq();
    while (1)
    {
    }
}
